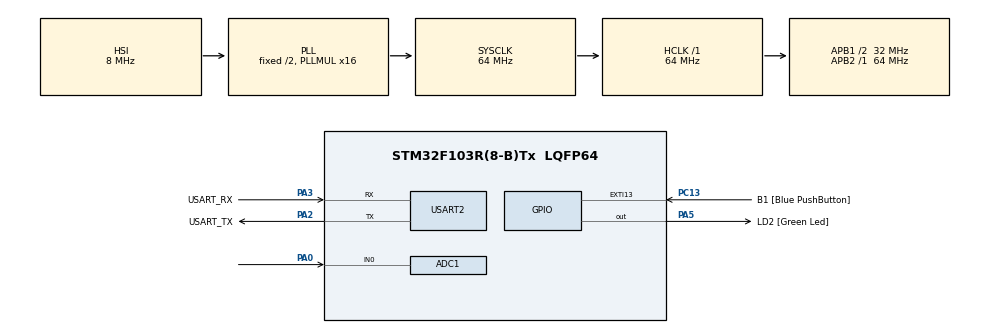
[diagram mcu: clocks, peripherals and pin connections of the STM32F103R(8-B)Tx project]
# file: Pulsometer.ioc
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ADC1.Channel-0\#ChannelRegularConversion=ADC_CHANNEL_0
ADC1.ExternalTrigConv=ADC_EXTERNALTRIGCONV_T3_TRGO
ADC1.NbrOfConversionFlag=1
ADC1.Rank-0\#ChannelRegularConversion=1
ADC1.SamplingTime-0\#ChannelRegularConversion=ADC_SAMPLETIME_28CYCLES_5
ADC1.master=1
Mcu.Family=STM32F1
Mcu.Name=STM32F103R(8-B)Tx
Mcu.Package=LQFP64
NVIC.ADC1_2_IRQn=true\:0\:0\:false\:false\:true\:true\:true\:true
NVIC.EXTI15_10_IRQn=true\:0\:0\:false\:false\:true\:true\:true\:true
NVIC.PriorityGroup=NVIC_PRIORITYGROUP_4
NVIC.TIM3_IRQn=true\:0\:0\:false\:false\:true\:true\:true\:true
PA0-WKUP.Signal=ADCx_IN0
PA13.GPIO_Label=TMS
PA13.Mode=Trace_Asynchronous_SW
PA13.Signal=SYS_JTMS-SWDIO
PA14.GPIO_Label=TCK
PA14.Mode=Trace_Asynchronous_SW
PA14.Signal=SYS_JTCK-SWCLK
PA2.GPIO_Label=USART_TX
PA2.GPIO_Mode=GPIO_MODE_AF_PP
PA2.GPIO_PuPd=GPIO_NOPULL
PA2.GPIO_Speed=GPIO_SPEED_FREQ_LOW
PA2.Mode=Asynchronous
PA2.Signal=USART2_TX
PA3.GPIO_Label=USART_RX
PA3.GPIO_Mode=GPIO_MODE_AF_PP
PA3.GPIO_PuPd=GPIO_NOPULL
PA3.GPIO_Speed=GPIO_SPEED_FREQ_LOW
PA3.Mode=Asynchronous
PA3.Signal=USART2_RX
PA5.GPIO_Label=LD2 [Green Led]
PA5.GPIO_ModeDefaultOutputPP=GPIO_MODE_OUTPUT_PP
PA5.GPIO_PuPd=GPIO_NOPULL
PA5.GPIO_Speed=GPIO_SPEED_FREQ_LOW
PA5.Signal=GPIO_Output
PB3.GPIO_Label=SWO
PB3.Mode=Trace_Asynchronous_SW
PB3.Signal=SYS_JTDO-TRACESWO
PC13-TAMPER-RTC.GPIO_Label=B1 [Blue PushButton]
PC13-TAMPER-RTC.GPIO_PuPd=GPIO_NOPULL
PC13-TAMPER-RTC.Signal=GPXTI13
PC14-OSC32_IN.Mode=LSE-External-Oscillator
PC14-OSC32_IN.Signal=RCC_OSC32_IN
PC15-OSC32_OUT.Mode=LSE-External-Oscillator
PC15-OSC32_OUT.Signal=RCC_OSC32_OUT
PD0-OSC_IN.Mode=HSE-External-Clock-Source
PD0-OSC_IN.Signal=RCC_OSC_IN
PD1-OSC_OUT.Mode=HSE-External-Clock-Source
PD1-OSC_OUT.Signal=RCC_OSC_OUT
ProjectManager.HeapSize=0x200
ProjectManager.StackSize=0x400
ProjectManager.TargetToolchain=STM32CubeIDE
RCC.ADCPresc=RCC_ADCPCLK2_DIV8
RCC.AHBFreq_Value=64000000
RCC.APB1CLKDivider=RCC_HCLK_DIV2
RCC.APB1Freq_Value=32000000
RCC.APB1TimFreq_Value=64000000
RCC.APB2Freq_Value=64000000
RCC.APB2TimFreq_Value=64000000
RCC.HCLKFreq_Value=64000000
RCC.PLLMUL=RCC_PLL_MUL16
RCC.RTCClockSelection=RCC_RTCCLKSOURCE_LSE
RCC.SYSCLKFreq_VALUE=64000000
RCC.SYSCLKSource=RCC_SYSCLKSOURCE_PLLCLK
RCC.USBFreq_Value=64000000
SH.ADCx_IN0.0=ADC1_IN0,IN0
TIM3.AutoReloadPreload=TIM_AUTORELOAD_PRELOAD_ENABLE
TIM3.Period=19
TIM3.Prescaler=63999
TIM3.TIM_MasterOutputTrigger=TIM_TRGO_UPDATE
TIM4.Prescaler=63999
USART2.VirtualMode=VM_ASYNC
VP_TIM3_VS_ClockSourceINT.Mode=Internal
VP_TIM4_VS_ClockSourceINT.Mode=Internal
board=NUCLEO-F103RB

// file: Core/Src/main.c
/* USER CODE BEGIN Header */
/**
  ******************************************************************************
  * @file           : main.c
  * @brief          : Main program body
  ******************************************************************************
  * @attention
  *
  * Copyright (c) 2024 STMicroelectronics.
  * All rights reserved.
  *
  * This software is licensed under terms that can be found in the LICENSE file
  * in the root directory of this software component.
  * If no LICENSE file comes with this software, it is provided AS-IS.
  *
  ******************************************************************************
  */
/* USER CODE END Header */
#include "main.h"

/* USER CODE BEGIN Includes */

//included for swv printf
#include <stdio.h>

/* USER CODE END Includes */

/* USER CODE BEGIN PD */

//masks for circular buffers
#define MEAN_PULSE_MASK 7 //0b111
#define CIRC_BUFFER_MASK 127 //0b1111111

/* USER CODE END PD */

ADC_HandleTypeDef hadc1;

TIM_HandleTypeDef htim3;
TIM_HandleTypeDef htim4;

UART_HandleTypeDef huart2;

/* USER CODE BEGIN PV */
volatile uint16_t pulseDB; // variable with debugging purpouse
volatile uint16_t counter = 0;
volatile uint8_t measurement_flag = 0;
volatile uint8_t button_pressed = 0;

uint16_t circ_buffer[128] = {0};
uint16_t mean_pulse[8] = {0};

/* USER CODE END PV */

void SystemClock_Config(void);
static void MX_GPIO_Init(void);
static void MX_USART2_UART_Init(void);
static void MX_ADC1_Init(void);
static void MX_TIM3_Init(void);
static void MX_TIM4_Init(void);

/* USER CODE BEGIN 0 */
int __io_putchar(int chr) {
	ITM_SendChar(chr);
	return 1;
}
/* USER CODE END 0 */

int main(void)
{
  /* USER CODE BEGIN 1 */

	uint16_t tim_val_1 = 0;
	uint16_t result = 0;
	uint8_t pulse = 0;
	uint8_t falling_edge_counter = 0;
	uint8_t mean_pulse_counter = 0;
	uint8_t start_result_counter = 0;
	uint8_t previous_edge = 0;
	uint8_t falling_edge = 0;

  /* USER CODE END 1 */

  /* MCU Configuration--------------------------------------------------------*/

  /* Reset of all peripherals, Initializes the Flash interface and the Systick. */
  HAL_Init();

  /* Configure the system clock */
  SystemClock_Config();

  /* Initialize all configured peripherals */
  MX_GPIO_Init();
  MX_USART2_UART_Init();
  MX_ADC1_Init();
  MX_TIM3_Init();
  MX_TIM4_Init();
  /* USER CODE BEGIN 2 */

  HAL_ADCEx_Calibration_Start(&hadc1);
  /* USER CODE END 2 */

  /* Infinite loop */
  /* USER CODE BEGIN WHILE */

  while (1)
  {
	  //If user has pressed the button, start the measurement.
	  //If user had already pressed the button before, stop the measurement.
	  if(button_pressed) {

		  if(HAL_TIM_Base_GetState(&htim3) == HAL_TIM_STATE_READY) {

			  HAL_TIM_Base_Start(&htim3);
			  HAL_ADC_Start_IT(&hadc1);

		  } else if(HAL_TIM_Base_GetState(&htim3) == HAL_TIM_STATE_BUSY) {

			  HAL_TIM_Base_Stop(&htim3);

		  }

		  button_pressed = 0;
	  }

	  //If there is a new sample in the buffer, check for falling edge possibilities
	  if(measurement_flag) {

		  falling_edge_counter = 0;

		  //check last 10 samples, if at least 7 of them are higher than the new one, a falling edge has occured.
		  for(int i = 1; i < 11; i++) {
			  if(circ_buffer[(counter - i) & 127] - 50 > circ_buffer[counter]) { //need to check ENOB for typical value of noise. Right now, empirically set to 50 to ignore the noise.
				  falling_edge_counter++;
			  }
		  }

		  if (falling_edge_counter > 6) {

			  falling_edge = 1;

		  } else {

			  falling_edge = 0;
			  previous_edge = 0;

		  }

		  measurement_flag = 0;
	  }

	  //if falling edge has just occured.
	  if(falling_edge == 1 && previous_edge == 0) {

		  previous_edge = 1;

		  //Start the timer to count time from first falling edge to the other.
		  //If the timer4 is already running, check the time between two falling edges.
		  if(HAL_TIM_Base_GetState(&htim4) == HAL_TIM_STATE_READY) {

			  HAL_TIM_Base_Start(&htim4);

		  } else if(HAL_TIM_Base_GetState(&htim4) == HAL_TIM_STATE_BUSY) {

			  //waiting for mean_pulse circular buffer to fill with some values.
			  if(start_result_counter < 8){
				  start_result_counter++;
			  }

			  //checking CNT register of TIM4 to measure the time needed to calculate heart bpm
			  tim_val_1 = TIM4->CNT;
			  pulse = 60000.0/(tim_val_1);

			  //filling mean_pulse circular buffer with calculated heart bpm value.
			  mean_pulse[mean_pulse_counter++] = pulse;
			  mean_pulse_counter &= MEAN_PULSE_MASK;

			  //if the buffer has already filled with values, calculate mean of the values from it to gain the final result of heart bpm.
			  if(start_result_counter == 8) {

				  for(int i = 0; i < 8; i++) {
					  result += mean_pulse[i];
				  }

				  result /= 8;
				  printf("bpm: %d \n", result);
				  result = 0;

			  }

			  //start from the beginning by clearing TIM4 CNT register.
			  TIM4->CNT = 0;
		  }
	  }

    /* USER CODE END WHILE */

  }
}

void SystemClock_Config(void)
{
  RCC_OscInitTypeDef RCC_OscInitStruct = {0};
  RCC_ClkInitTypeDef RCC_ClkInitStruct = {0};
  RCC_PeriphCLKInitTypeDef PeriphClkInit = {0};

  /** Initializes the RCC Oscillators according to the specified parameters
  * in the RCC_OscInitTypeDef structure.
  */
  RCC_OscInitStruct.OscillatorType = RCC_OSCILLATORTYPE_HSI;
  RCC_OscInitStruct.HSIState = RCC_HSI_ON;
  RCC_OscInitStruct.HSICalibrationValue = RCC_HSICALIBRATION_DEFAULT;
  RCC_OscInitStruct.PLL.PLLState = RCC_PLL_ON;
  RCC_OscInitStruct.PLL.PLLSource = RCC_PLLSOURCE_HSI_DIV2;
  RCC_OscInitStruct.PLL.PLLMUL = RCC_PLL_MUL16;
  if (HAL_RCC_OscConfig(&RCC_OscInitStruct) != HAL_OK)
  {
    Error_Handler();
  }

  /** Initializes the CPU, AHB and APB buses clocks
  */
  RCC_ClkInitStruct.ClockType = RCC_CLOCKTYPE_HCLK|RCC_CLOCKTYPE_SYSCLK
                              |RCC_CLOCKTYPE_PCLK1|RCC_CLOCKTYPE_PCLK2;
  RCC_ClkInitStruct.SYSCLKSource = RCC_SYSCLKSOURCE_PLLCLK;
  RCC_ClkInitStruct.AHBCLKDivider = RCC_SYSCLK_DIV1;
  RCC_ClkInitStruct.APB1CLKDivider = RCC_HCLK_DIV2;
  RCC_ClkInitStruct.APB2CLKDivider = RCC_HCLK_DIV1;

  if (HAL_RCC_ClockConfig(&RCC_ClkInitStruct, FLASH_LATENCY_2) != HAL_OK)
  {
    Error_Handler();
  }
  PeriphClkInit.PeriphClockSelection = RCC_PERIPHCLK_ADC;
  PeriphClkInit.AdcClockSelection = RCC_ADCPCLK2_DIV8;
  if (HAL_RCCEx_PeriphCLKConfig(&PeriphClkInit) != HAL_OK)
  {
    Error_Handler();
  }
}

static void MX_ADC1_Init(void)
{

  ADC_ChannelConfTypeDef sConfig = {0};

  /** Common config
  */
  hadc1.Instance = ADC1;
  hadc1.Init.ScanConvMode = ADC_SCAN_DISABLE;
  hadc1.Init.ContinuousConvMode = DISABLE;
  hadc1.Init.DiscontinuousConvMode = DISABLE;
  hadc1.Init.ExternalTrigConv = ADC_EXTERNALTRIGCONV_T3_TRGO;
  hadc1.Init.DataAlign = ADC_DATAALIGN_RIGHT;
  hadc1.Init.NbrOfConversion = 1;
  if (HAL_ADC_Init(&hadc1) != HAL_OK)
  {
    Error_Handler();
  }

  /** Configure Regular Channel
  */
  sConfig.Channel = ADC_CHANNEL_0;
  sConfig.Rank = ADC_REGULAR_RANK_1;
  sConfig.SamplingTime = ADC_SAMPLETIME_28CYCLES_5;
  if (HAL_ADC_ConfigChannel(&hadc1, &sConfig) != HAL_OK)
  {
    Error_Handler();
  }

}

static void MX_TIM3_Init(void)
{

  TIM_ClockConfigTypeDef sClockSourceConfig = {0};
  TIM_MasterConfigTypeDef sMasterConfig = {0};

  htim3.Instance = TIM3;
  htim3.Init.Prescaler = 63999;
  htim3.Init.CounterMode = TIM_COUNTERMODE_UP;
  htim3.Init.Period = 19;
  htim3.Init.ClockDivision = TIM_CLOCKDIVISION_DIV1;
  htim3.Init.AutoReloadPreload = TIM_AUTORELOAD_PRELOAD_ENABLE;
  if (HAL_TIM_Base_Init(&htim3) != HAL_OK)
  {
    Error_Handler();
  }
  sClockSourceConfig.ClockSource = TIM_CLOCKSOURCE_INTERNAL;
  if (HAL_TIM_ConfigClockSource(&htim3, &sClockSourceConfig) != HAL_OK)
  {
    Error_Handler();
  }
  sMasterConfig.MasterOutputTrigger = TIM_TRGO_UPDATE;
  sMasterConfig.MasterSlaveMode = TIM_MASTERSLAVEMODE_DISABLE;
  if (HAL_TIMEx_MasterConfigSynchronization(&htim3, &sMasterConfig) != HAL_OK)
  {
    Error_Handler();
  }

}

static void MX_TIM4_Init(void)
{

  TIM_ClockConfigTypeDef sClockSourceConfig = {0};
  TIM_MasterConfigTypeDef sMasterConfig = {0};

  htim4.Instance = TIM4;
  htim4.Init.Prescaler = 63999;
  htim4.Init.CounterMode = TIM_COUNTERMODE_UP;
  htim4.Init.Period = 65535;
  htim4.Init.ClockDivision = TIM_CLOCKDIVISION_DIV1;
  htim4.Init.AutoReloadPreload = TIM_AUTORELOAD_PRELOAD_DISABLE;
  if (HAL_TIM_Base_Init(&htim4) != HAL_OK)
  {
    Error_Handler();
  }
  sClockSourceConfig.ClockSource = TIM_CLOCKSOURCE_INTERNAL;
  if (HAL_TIM_ConfigClockSource(&htim4, &sClockSourceConfig) != HAL_OK)
  {
    Error_Handler();
  }
  sMasterConfig.MasterOutputTrigger = TIM_TRGO_RESET;
  sMasterConfig.MasterSlaveMode = TIM_MASTERSLAVEMODE_DISABLE;
  if (HAL_TIMEx_MasterConfigSynchronization(&htim4, &sMasterConfig) != HAL_OK)
  {
    Error_Handler();
  }

}

static void MX_USART2_UART_Init(void)
{

  huart2.Instance = USART2;
  huart2.Init.BaudRate = 115200;
  huart2.Init.WordLength = UART_WORDLENGTH_8B;
  huart2.Init.StopBits = UART_STOPBITS_1;
  huart2.Init.Parity = UART_PARITY_NONE;
  huart2.Init.Mode = UART_MODE_TX_RX;
  huart2.Init.HwFlowCtl = UART_HWCONTROL_NONE;
  huart2.Init.OverSampling = UART_OVERSAMPLING_16;
  if (HAL_UART_Init(&huart2) != HAL_OK)
  {
    Error_Handler();
  }

}

static void MX_GPIO_Init(void)
{
  GPIO_InitTypeDef GPIO_InitStruct = {0};

  /* GPIO Ports Clock Enable */
  __HAL_RCC_GPIOC_CLK_ENABLE();
  __HAL_RCC_GPIOD_CLK_ENABLE();
  __HAL_RCC_GPIOA_CLK_ENABLE();
  __HAL_RCC_GPIOB_CLK_ENABLE();

  /*Configure GPIO pin Output Level */
  HAL_GPIO_WritePin(LD2_GPIO_Port, LD2_Pin, GPIO_PIN_RESET);

  /*Configure GPIO pin : B1_Pin */
  GPIO_InitStruct.Pin = B1_Pin;
  GPIO_InitStruct.Mode = GPIO_MODE_IT_RISING;
  GPIO_InitStruct.Pull = GPIO_NOPULL;
  HAL_GPIO_Init(B1_GPIO_Port, &GPIO_InitStruct);

  /*Configure GPIO pin : LD2_Pin */
  GPIO_InitStruct.Pin = LD2_Pin;
  GPIO_InitStruct.Mode = GPIO_MODE_OUTPUT_PP;
  GPIO_InitStruct.Pull = GPIO_NOPULL;
  GPIO_InitStruct.Speed = GPIO_SPEED_FREQ_LOW;
  HAL_GPIO_Init(LD2_GPIO_Port, &GPIO_InitStruct);

  /* EXTI interrupt init*/
  HAL_NVIC_SetPriority(EXTI15_10_IRQn, 0, 0);
  HAL_NVIC_EnableIRQ(EXTI15_10_IRQn);

}

/* USER CODE BEGIN 4 */
void HAL_GPIO_EXTI_Callback(uint16_t GPIO_Pin) {

	//would be fine to debounce
	button_pressed = 1;

}

void	HAL_ADC_ConvCpltCallback(ADC_HandleTypeDef* hadc){

	circ_buffer[counter++] = HAL_ADC_GetValue(hadc);
	counter &= CIRC_BUFFER_MASK;

	pulseDB = circ_buffer[counter]; //used to depict current pulse signal in debugger

	measurement_flag = 1;

}

/* USER CODE END 4 */

void Error_Handler(void)
{
  __disable_irq();
  while (1)
  {
  }
}
